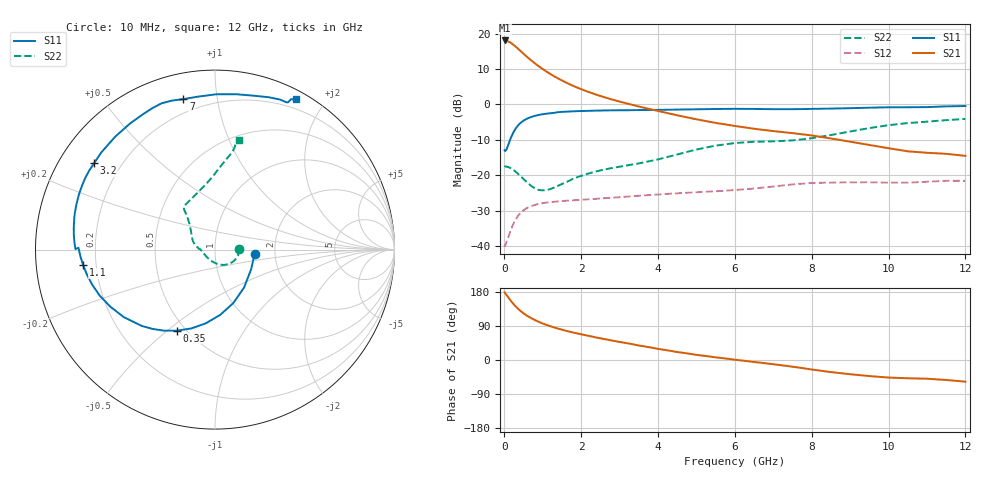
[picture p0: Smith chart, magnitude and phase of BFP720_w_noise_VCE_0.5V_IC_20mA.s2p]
! Infineon Technologies  Discrete & RF Semiconductors
! BFP720
! VCE =  0.5 V,  IC =  20 mA
! Common Emitter S-Parameters:  Aug 2012
# GHz  S  MA  R  50
!  f  S11  S21  S12  S22
! GHz  MAG  ANG  MAG  ANG  MAG  ANG  MAG  ANG
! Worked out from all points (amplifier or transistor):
!   105 points, 10 MHz to 12 GHz, reference 50 ohm
!   highest |S21| = 18.1 dB at 20 MHz (marker M1)
!   |S21| within 3 dB of that: start of sweep to 427.8 MHz
!   unconditionally stable (mu >= 1): start of sweep to end of sweep
!   at 300 MHz: K = 2.53, MAG = 17.5 dB, |S12| = -32.4 dB
!   at 3.6 GHz: K = 3.26, MAG = 4.4 dB, |S12| = -25.7 dB
!   at 12 GHz: K = 2.34, MAG = -3.0 dB, |S12| = -21.6 dB
!   lowest NFmin = 0.77 dB at 450 MHz
!   S11 on the Smith chart (normalised r, x): 10 MHz: 1.58, -0.08; 350 MHz: 0.45, -0.54; 1.1 GHz: 0.15, -0.06; 3.2 GHz: 0.10, +0.32; 7 GHz: 0.13, +0.80; 12 GHz: 0.10, +1.67
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0.01  0.2256 -6.3  7.963 178.8  0.0105 2.6  0.131 1.6
0.02  0.2204 -11.6  7.993 177.2  0.01 9.3  0.1334 -2.5
0.1  0.2663 -52.5  7.755 165.9  0.0129 30.4  0.1311 -15.3
0.15  0.3147 -71.1  7.526 159.0  0.0157 36.8  0.1279 -22.9
0.2  0.3648 -85.4  7.222 152.7  0.0185 39.4  0.1231 -30.3
0.25  0.4139 -97.1  6.874 146.7  0.0214 40.2  0.1179 -37.5
0.35  0.4981 -115.0  6.193 136.3  0.0264 38.8  0.1059 -51.2
0.4  0.5332 -122.1  5.833 131.6  0.0285 37.4  0.1005 -57.9
0.5  0.5897 -133.9  5.203 123.4  0.032 34.3  0.0889 -70.5
0.6  0.6323 -143.5  4.656 116.5  0.0347 31.4  0.0789 -83.8
0.7  0.6644 -151.4  4.194 110.5  0.0367 28.9  0.071 -96.5
0.9  0.7114 -164.0  3.452 100.6  0.0395 24.7  0.0621 -122.4
1.1  0.7399 -173.3  2.911 92.6  0.0412 21.7  0.0618 -145.4
1.5  0.7844 176.9  2.179 80.0  0.0432 18.3  0.0753 -175.0
2.1  0.8096 163.4  1.568 65.8  0.0455 16.0  0.1021 170.7
3.2  0.8279 144.5  1.03 44.2  0.05 14.1  0.138 155.5
4.1  0.8401 129.9  0.787 27.8  0.054 12.0  0.1731 141.3
6.1  0.8667 109.3  0.488 -0.4  0.0625 7.7  0.2874 127.1
7  0.8568 101.9  0.421 -11.2  0.0694 5.7  0.3018 121.8
8.5  0.8738 82.1  0.331 -31.9  0.0789 -6.4  0.37 97.4
10.5  0.912 64.1  0.218 -48.2  0.0787 -16.9  0.5454 80.3
12  0.95 61.7  0.188 -57.1  0.0836 -24.9  0.6247 77.8
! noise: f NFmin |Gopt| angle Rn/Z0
0.45  0.77  0.18  1  0.29
1.8  0.82  0.18  8  0.14
2.4  0.88  0.18  11  0.54
5.5  1.11  0.17  -64  0.18
10  1.26  0.48  -71  0.33
